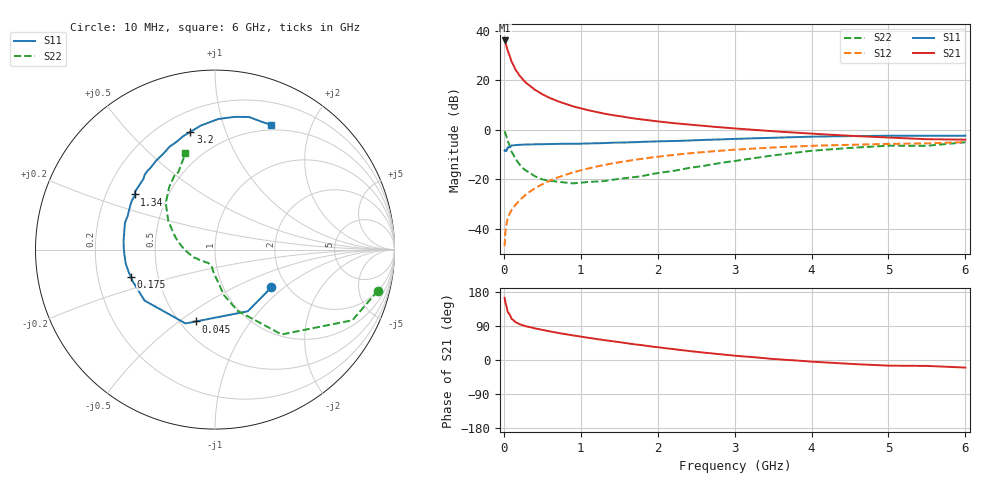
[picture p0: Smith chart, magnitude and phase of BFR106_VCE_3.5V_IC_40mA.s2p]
! Infineon Technologies  Discrete & RF Semiconductors
! BFR106
! VCE =  3.5 V,  IC =  40 mA
! Common Emitter S-Parameters:  Nov 2015
# GHz  S  MA  R  50
!  f  S11  S21  S12  S22
! GHz  MAG  ANG  MAG  ANG  MAG  ANG  MAG  ANG
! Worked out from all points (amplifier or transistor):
!   210 points, 10 MHz to 6 GHz, reference 50 ohm
!   highest |S21| = 36.2 dB at 10 MHz (marker M1)
!   |S21| within 3 dB of that: start of sweep to 39.55 MHz
!   unconditionally stable (mu >= 1): 273.3 MHz to 2.371 GHz
!   at 185 MHz: K = 0.91, MSG = 26.1 dB, |S12| = -29.2 dB
!   at 1.52 GHz: K = 1.05, MAG = 7.9 dB, |S12| = -13.0 dB
!   at 6 GHz: K = 0.99, MSG = 0.5 dB, |S12| = -5.0 dB
!   S11 on the Smith chart (normalised r, x): 10 MHz: 1.67, -0.82; 45 MHz: 0.60, -0.58; 175 MHz: 0.35, -0.14; 1.34 GHz: 0.32, +0.28; 3.2 GHz: 0.32, +0.76; 6 GHz: 0.44, +1.45
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0.01  0.378 -33.7  64.7 164.3  0.0044 80.6  0.9356 -14.2
0.02  0.3892 -62.0  58.98 151.8  0.0086 72.0  0.8608 -27.2
0.045  0.4141 -104.8  42.82 132.2  0.015 61.0  0.6341 -46.5
0.05  0.443 -111.7  40.46 126.6  0.0163 59.9  0.6011 -51.9
0.1  0.4844 -144.1  24.15 108.7  0.0237 59.4  0.3626 -69.8
0.15  0.4913 -158.3  16.74 100.0  0.03 61.5  0.259 -78.8
0.175  0.4931 -162.0  14.77 97.8  0.0333 63.7  0.2307 -80.4
0.2  0.497 -165.6  12.82 94.9  0.0366 65.5  0.2027 -82.5
0.26  0.5034 -171.7  9.962 90.6  0.0449 67.3  0.1605 -87.6
0.3  0.5049 -175.1  8.631 88.3  0.0507 68.8  0.1449 -90.2
0.4  0.5087 178.9  6.544 83.6  0.0648 69.9  0.1157 -95.9
0.5  0.512 174.1  5.254 79.3  0.0791 70.6  0.0991 -99.9
0.6  0.5146 169.8  4.409 75.4  0.0939 70.1  0.0929 -103.5
0.8  0.5237 163.0  3.346 68.2  0.1227 68.5  0.0849 -114.0
1.02  0.5273 155.2  2.672 61.1  0.154 66.1  0.0856 -122.2
1.34  0.5429 145.5  2.084 51.5  0.1989 61.8  0.0936 -136.6
2.02  0.5806 128.0  1.472 33.2  0.2877 51.7  0.1346 -165.1
3.1  0.6633 103.6  1.04 9.8  0.405 34.9  0.2468 158.7
3.2  0.6704 101.8  1.012 8.2  0.4138 33.3  0.2603 155.8
4.1  0.7308 87.2  0.82 -5.4  0.4803 19.9  0.3867 134.4
5.1  0.7611 74.5  0.688 -15.0  0.521 7.3  0.4775 117.0
6  0.7618 65.9  0.633 -20.0  0.5634 -2.3  0.5608 107.1
